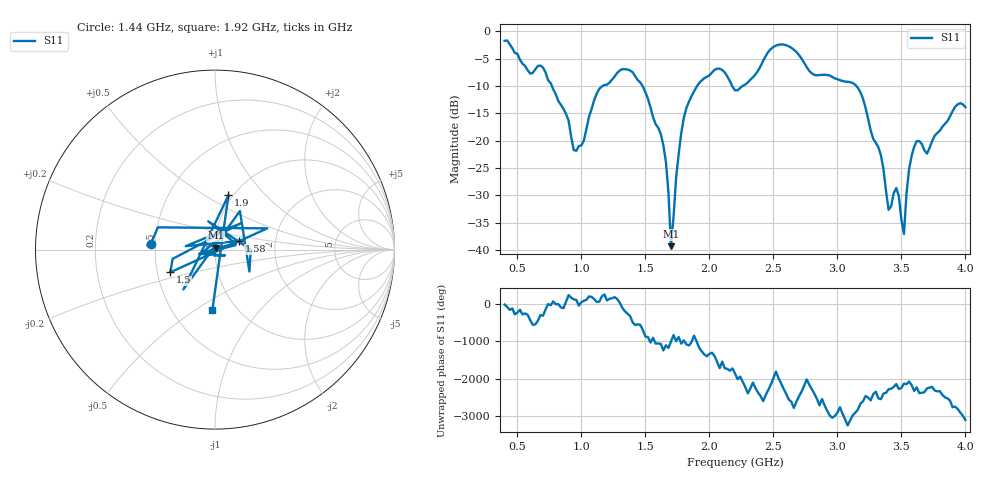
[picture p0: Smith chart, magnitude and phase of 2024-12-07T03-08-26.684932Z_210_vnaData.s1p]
!Created with skrf (http://scikit-rf.org).
# Hz S RI R 50.0
!freq ReS11 ImS11
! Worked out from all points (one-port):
!   181 points, 400 MHz to 4 GHz, reference 50 ohm
!   lowest |S11| = -39.3 dB at 1.7 GHz (marker M1), VSWR 1.02, Z = 50.4 + j1.03 ohm
!   |S11| at or under -10 dB: 769.7 MHz to 1.164 GHz (394.1 MHz wide, 40.8 % of centre); 1.478 GHz to 1.903 GHz (424.9 MHz wide, 25.1 % of centre); 3.149 GHz to end of sweep (the widest 3 of 4)
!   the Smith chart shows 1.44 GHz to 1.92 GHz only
!   S11 on the Smith chart (normalised r, x): 1.44 GHz: 0.47, +0.03; 1.5 GHz: 0.59, -0.16; 1.58 GHz: 1.30, +0.13; 1.9 GHz: 0.95, +0.64; 1.92 GHz: 0.77, -0.59
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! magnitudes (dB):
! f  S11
! 400 MHz  -1.7
! 700 MHz  -6.6
! 860 MHz  -14.2
! 960 MHz  -21.8
! 1.14 GHz  -10.5
! 1.3 GHz  -7.1
! 1.44 GHz  -8.9
! 1.5 GHz  -11.1
! 1.58 GHz  -17.0
! 1.66 GHz  -23.8
! 1.7 GHz  -39.3
! 1.76 GHz  -22.4
! 1.82 GHz  -14.0
! 1.9 GHz  -10.1
! 1.92 GHz  -9.4
! 2.08 GHz  -6.8
! 2.2 GHz  -10.8
! 2.5 GHz  -2.8
! 2.66 GHz  -3.3
! 3.1 GHz  -9.3
! 3.34 GHz  -22.6
! 3.4 GHz  -32.6
! 3.46 GHz  -28.6
! 3.52 GHz  -37.1
! 3.56 GHz  -25.2
! 3.62 GHz  -20.0
! 3.7 GHz  -22.3
! 4 GHz  -13.8
